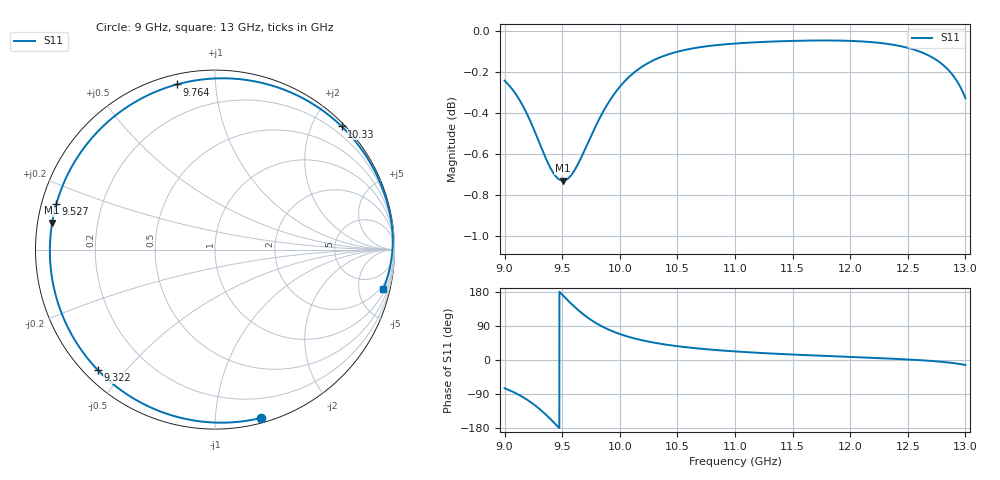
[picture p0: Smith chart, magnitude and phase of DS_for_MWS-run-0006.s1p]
! TOUCHSTONE file generated by CST DESIGN STUDIO
! Date and time: Tue Feb  4 15:57:22 2025
! Project name: C:\Work\MatlabApps\UnitCellOptimizationMatlab\CST\unitcell.cst
! Tree item: Tasks\Sweep1\SPara1\S-Parameters
! Header version: 2024
! Port assignment regex: !\s*Touchstone port\s*([0-9]+)\s*=\s*(CST MWS port|CST DES external port|CST DES block port)\s*(.+)\s* \(\"(.*)\"\)(\s*mode\s*([0-9]+))?.*
! Touchstone port assignment:
! Touchstone port 1 = CST DES external port 1 ("")
# GHz S MA R 50
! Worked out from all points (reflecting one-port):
!   4001 points, 9 GHz to 13 GHz, reference 50 ohm
!   lowest |S11| = -0.7 dB at 9.506 GHz (marker M1), VSWR 23.84, Z = 2.11 + j4.1 ohm
!   phase of S11 starts at -75 deg and turns -299 deg over the sweep
!   S11 on the Smith chart (normalised r, x): 9 GHz: 0.04, -1.31; 9.322 GHz: 0.04, -0.42; 9.527 GHz: 0.04, +0.14; 9.764 GHz: 0.05, +0.79; 10.33 GHz: 0.05, +2.46; 13 GHz: 1.37, -8.36
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9  0.9724 -74.6
9.084  0.9663 -85.7
9.185  0.9556 -102.8
9.256  0.946 -117.9
9.322  0.9362 -134.3
9.368  0.9297 -147.1
9.417  0.924 -161.7
9.459  0.9208 -174.7
9.5  0.9195 172.5
9.506  0.9195 170.6
9.527  0.9197 164.1
9.589  0.9232 145.5
9.645  0.929 130.2
9.702  0.9363 116.2
9.764  0.9445 103.0
9.819  0.9515 93.0
9.881  0.9585 83.3
10  0.9691 68.5
10.149  0.9781 55.3
10.327  0.9846 44.2
10.5  0.9883 36.4
10.722  0.991 29.2
11  0.9928 22.6
11.5  0.9943 14.4
12  0.9943 8.1
12.5  0.9904 1.4
12.795  0.9816 -4.8
13  0.963 -13.3
